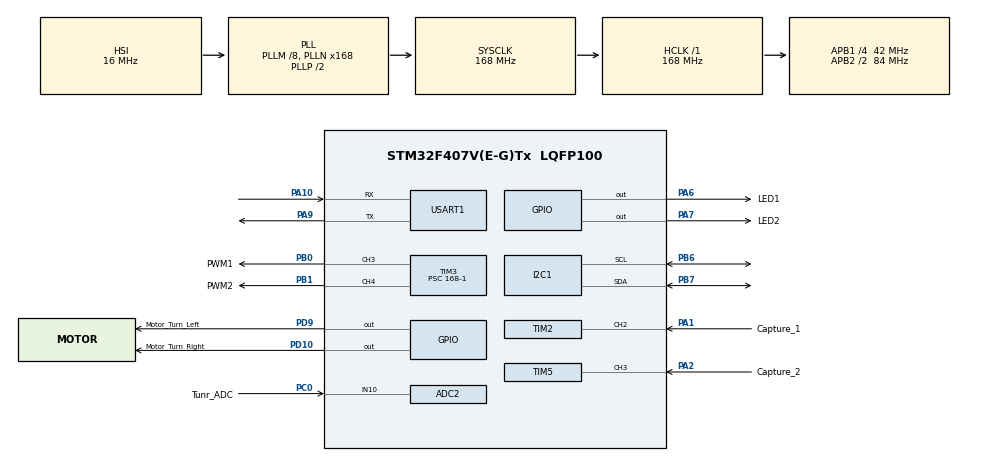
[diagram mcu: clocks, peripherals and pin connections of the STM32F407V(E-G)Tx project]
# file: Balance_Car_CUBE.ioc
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ADC1.Channel-0\#ChannelRegularConversion=ADC_CHANNEL_TEMPSENSOR
ADC1.ClockPrescaler=ADC_CLOCK_SYNC_PCLK_DIV4
ADC1.ContinuousConvMode=DISABLE
ADC1.DMAContinuousRequests=DISABLE
ADC1.DataAlign=ADC_DATAALIGN_RIGHT
ADC1.DiscontinuousConvMode=DISABLE
ADC1.EOCSelection=ADC_EOC_SINGLE_CONV
ADC1.EnableAnalogWatchDog=false
ADC1.ExternalTrigConv=ADC_SOFTWARE_START
ADC1.ExternalTrigConvEdge=ADC_EXTERNALTRIGCONVEDGE_NONE
ADC1.InjNumberOfConversion=0
ADC1.NbrOfConversion=1
ADC1.NbrOfConversionFlag=1
ADC1.Rank-0\#ChannelRegularConversion=1
ADC1.Resolution=ADC_RESOLUTION_12B
ADC1.SamplingTime-0\#ChannelRegularConversion=ADC_SAMPLETIME_3CYCLES
ADC1.ScanConvMode=DISABLE
ADC1.master=1
ADC2.Channel-0\#ChannelRegularConversion=ADC_CHANNEL_10
ADC2.NbrOfConversionFlag=1
ADC2.Rank-0\#ChannelRegularConversion=1
ADC2.SamplingTime-0\#ChannelRegularConversion=ADC_SAMPLETIME_3CYCLES
Dma.Request0=USART1_TX
Dma.USART1_TX.0.Direction=DMA_MEMORY_TO_PERIPH
Dma.USART1_TX.0.FIFOMode=DMA_FIFOMODE_DISABLE
Dma.USART1_TX.0.Instance=DMA2_Stream7
Dma.USART1_TX.0.MemDataAlignment=DMA_MDATAALIGN_BYTE
Dma.USART1_TX.0.MemInc=DMA_MINC_ENABLE
Dma.USART1_TX.0.Mode=DMA_NORMAL
Dma.USART1_TX.0.PeriphDataAlignment=DMA_PDATAALIGN_BYTE
Dma.USART1_TX.0.PeriphInc=DMA_PINC_DISABLE
Dma.USART1_TX.0.Priority=DMA_PRIORITY_LOW
Mcu.Family=STM32F4
Mcu.Name=STM32F407V(E-G)Tx
Mcu.Package=LQFP100
NVIC.DMA2_Stream7_IRQn=true\:0\:0\:false\:false\:true\:false
NVIC.PriorityGroup=NVIC_PRIORITYGROUP_2
NVIC.TIM1_BRK_TIM9_IRQn=true\:0\:0\:true\:false\:true\:true
NVIC.TIM2_IRQn=true\:0\:0\:true\:false\:true\:true
NVIC.TIM5_IRQn=true\:0\:0\:true\:false\:true\:true
NVIC.USART1_IRQn=true\:0\:0\:true\:false\:true\:true
PA1.GPIO_Label=Capture_1
PA1.GPIO_Speed=GPIO_SPEED_FREQ_MEDIUM
PA1.Signal=S_TIM2_CH2
PA10.Mode=Asynchronous
PA10.Signal=USART1_RX
PA2.GPIO_Label=Capture_2
PA2.GPIO_Speed=GPIO_SPEED_FREQ_MEDIUM
PA2.Signal=S_TIM5_CH3
PA6.GPIO_Label=LED1
PA6.GPIO_PuPd=GPIO_NOPULL
PA6.PinState=GPIO_PIN_SET
PA6.Signal=GPIO_Output
PA7.GPIO_Label=LED2
PA7.GPIO_PuPd=GPIO_NOPULL
PA7.PinState=GPIO_PIN_SET
PA7.Signal=GPIO_Output
PA9.Mode=Asynchronous
PA9.Signal=USART1_TX
PB0.GPIO_Label=PWM1
PB0.GPIO_PuPd=GPIO_PULLUP
PB0.GPIO_Speed=GPIO_SPEED_FREQ_MEDIUM
PB0.Signal=S_TIM3_CH3
PB1.GPIO_Label=PWM2
PB1.GPIO_PuPd=GPIO_PULLUP
PB1.GPIO_Speed=GPIO_SPEED_FREQ_MEDIUM
PB1.Signal=S_TIM3_CH4
PB6.Mode=I2C
PB6.Signal=I2C1_SCL
PB7.Mode=I2C
PB7.Signal=I2C1_SDA
PC0.GPIO_Label=Tunr_ADC
PC0.Signal=ADCx_IN10
PD10.GPIO_Label=Motor_Turn_Right
PD10.GPIO_PuPd=GPIO_PULLDOWN
PD10.GPIO_Speed=GPIO_SPEED_FREQ_MEDIUM
PD10.PinState=GPIO_PIN_SET
PD10.Signal=GPIO_Output
PD9.GPIO_Label=Motor_Turn_Left
PD9.GPIO_PuPd=GPIO_PULLDOWN
PD9.GPIO_Speed=GPIO_SPEED_FREQ_MEDIUM
PD9.PinState=GPIO_PIN_SET
PD9.Signal=GPIO_Output
PH0-OSC_IN.Mode=HSE-External-Oscillator
PH0-OSC_IN.Signal=RCC_OSC_IN
PH1-OSC_OUT.Mode=HSE-External-Oscillator
PH1-OSC_OUT.Signal=RCC_OSC_OUT
ProjectManager.HeapSize=0x200
ProjectManager.StackSize=0x400
ProjectManager.TargetToolchain=MDK-ARM V5
RCC.48MHZClocksFreq_Value=84000000
RCC.AHBFreq_Value=168000000
RCC.APB1CLKDivider=RCC_HCLK_DIV4
RCC.APB1Freq_Value=42000000
RCC.APB1TimFreq_Value=84000000
RCC.APB2CLKDivider=RCC_HCLK_DIV2
RCC.APB2Freq_Value=84000000
RCC.APB2TimFreq_Value=168000000
RCC.CortexFreq_Value=168000000
RCC.HCLKFreq_Value=168000000
RCC.HSE_VALUE=25000000
RCC.HSI_VALUE=16000000
RCC.LSE_VALUE=32768
RCC.PLLM=8
RCC.PLLN=168
RCC.SYSCLKFreq_VALUE=168000000
RCC.SYSCLKSource=RCC_SYSCLKSOURCE_PLLCLK
RCC.VCOOutputFreq_Value=336000000
SH.ADCx_IN10.0=ADC2_IN10,IN10
SH.S_TIM2_CH2.0=TIM2_CH2,Input_Capture2_from_TI2
SH.S_TIM3_CH3.0=TIM3_CH3,PWM Generation3 CH3
SH.S_TIM3_CH4.0=TIM3_CH4,PWM Generation4 CH4
SH.S_TIM5_CH3.0=TIM5_CH3,Input_Capture3_from_TI3
TIM2.Channel-Input_Capture2_from_TI2=TIM_CHANNEL_2
TIM2.Period=0xFFFFFFFF
TIM2.Prescaler=168-1
TIM3.Channel-PWM\ Generation3\ CH3=TIM_CHANNEL_3
TIM3.Channel-PWM\ Generation4\ CH4=TIM_CHANNEL_4
TIM3.Period=200-1
TIM3.Prescaler=168-1
TIM5.Channel-Input_Capture3_from_TI3=TIM_CHANNEL_3
TIM5.Period=0xFFFFFFFF
TIM5.Prescaler=168-1
TIM9.Period=500-1
TIM9.Prescaler=16800-1
USART1.VirtualMode=VM_ASYNC
VP_ADC1_TempSens_Input.Mode=IN-TempSens
VP_TIM2_VS_ClockSourceINT.Mode=Internal
VP_TIM3_VS_ClockSourceINT.Mode=Internal
VP_TIM5_VS_ClockSourceINT.Mode=Internal
VP_TIM9_VS_ClockSourceINT.Mode=Internal
board=Balance_Car_CUBE

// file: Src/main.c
/**
  ******************************************************************************
  * @file           : main.c
  * @brief          : Main program body
  ******************************************************************************
  ** This notice applies to any and all portions of this file
  * that are not between comment pairs USER CODE BEGIN and
  * USER CODE END. Other portions of this file, whether
  * inserted by the user or by software development tools
  * are owned by their respective copyright owners.
  *
  * COPYRIGHT(c) 2018 STMicroelectronics
  *
  * Redistribution and use in source and binary forms, with or without modification,
  * are permitted provided that the following conditions are met:
  *   1. Redistributions of source code must retain the above copyright notice,
  *      this list of conditions and the following disclaimer.
  *   2. Redistributions in binary form must reproduce the above copyright notice,
  *      this list of conditions and the following disclaimer in the documentation
  *      and/or other materials provided with the distribution.
  *   3. Neither the name of STMicroelectronics nor the names of its contributors
  *      may be used to endorse or promote products derived from this software
  *      without specific prior written permission.
  *
  * THIS SOFTWARE IS PROVIDED BY THE COPYRIGHT HOLDERS AND CONTRIBUTORS "AS IS"
  * AND ANY EXPRESS OR IMPLIED WARRANTIES, INCLUDING, BUT NOT LIMITED TO, THE
  * IMPLIED WARRANTIES OF MERCHANTABILITY AND FITNESS FOR A PARTICULAR PURPOSE ARE
  * DISCLAIMED. IN NO EVENT SHALL THE COPYRIGHT HOLDER OR CONTRIBUTORS BE LIABLE
  * FOR ANY DIRECT, INDIRECT, INCIDENTAL, SPECIAL, EXEMPLARY, OR CONSEQUENTIAL
  * DAMAGES (INCLUDING, BUT NOT LIMITED TO, PROCUREMENT OF SUBSTITUTE GOODS OR
  * SERVICES; LOSS OF USE, DATA, OR PROFITS; OR BUSINESS INTERRUPTION) HOWEVER
  * CAUSED AND ON ANY THEORY OF LIABILITY, WHETHER IN CONTRACT, STRICT LIABILITY,
  * OR TORT (INCLUDING NEGLIGENCE OR OTHERWISE) ARISING IN ANY WAY OUT OF THE USE
  * OF THIS SOFTWARE, EVEN IF ADVISED OF THE POSSIBILITY OF SUCH DAMAGE.
  *
  ******************************************************************************
  */
#include "main.h"
#include "stm32f4xx_hal.h"
#include "adc.h"
#include "dma.h"
#include "i2c.h"
#include "tim.h"
#include "usart.h"
#include "gpio.h"

/* USER CODE BEGIN Includes */
#include "control.h"
#include "jy901.h"
#include "motor.h"
/* USER CODE END Includes */

/* USER CODE BEGIN PV */
/* Private variables ---------------------------------------------------------*/

/* USER CODE END PV */

void SystemClock_Config(void);

/* USER CODE BEGIN PFP */
/* Private function prototypes -----------------------------------------------*/

/* USER CODE END PFP */

int main(void)
{

  /* MCU Configuration----------------------------------------------------------*/

  /* Reset of all peripherals, Initializes the Flash interface and the Systick. */
  HAL_Init();

  /* Configure the system clock */
  SystemClock_Config();

  /* Initialize all configured peripherals */
  MX_GPIO_Init();
  MX_DMA_Init();
  MX_ADC1_Init();
  MX_ADC2_Init();
  MX_USART1_UART_Init();
  MX_TIM9_Init();
  MX_TIM2_Init();
  MX_TIM5_Init();
  MX_TIM3_Init();
  MX_I2C1_Init();
  /* USER CODE BEGIN 2 */
	HAL_TIM_IC_Start_IT(&htim2, TIM_CHANNEL_2);			//启动定时器2CH2输入捕获
	HAL_TIM_IC_Start_IT(&htim5, TIM_CHANNEL_3);			//启动定时器5CH3输入捕获
	HAL_TIM_PWM_Start(&htim3, TIM_CHANNEL_3);				//PWM1初始状态
	HAL_TIM_PWM_Start(&htim3, TIM_CHANNEL_4);				//PWM2初始状态
	HAL_TIM_Base_Start_IT(&htim9);									//启动定时器9，50ms中断一次
  /* USER CODE END 2 */

  /* Infinite loop */
  while (1)
  {

  /* USER CODE BEGIN 3 */

		Motor_Turn_Left(1);														//左轮正转
		Motor_Turn_Right(1);													//右轮正转

		User_PWM1_SetValue(5);
		User_PWM2_SetValue(5);
		LED1_Open();
		HAL_Delay(1000);

		User_PWM1_SetValue(0);
		User_PWM2_SetValue(0);
		LED1_Close();
		HAL_Delay(1000);

		Motor_Turn_Left(0);														//左轮反转
		Motor_Turn_Right(0);													//右轮反转

		User_PWM1_SetValue(3);
		User_PWM2_SetValue(3);
		LED1_Open();
		HAL_Delay(1000);

		User_PWM1_SetValue(0);
		User_PWM2_SetValue(0);
		LED1_Close();
		HAL_Delay(1000);

  }
  /* USER CODE END 3 */

}

void SystemClock_Config(void)
{

  RCC_OscInitTypeDef RCC_OscInitStruct;
  RCC_ClkInitTypeDef RCC_ClkInitStruct;

    /**Configure the main internal regulator output voltage
    */
  __HAL_RCC_PWR_CLK_ENABLE();

  __HAL_PWR_VOLTAGESCALING_CONFIG(PWR_REGULATOR_VOLTAGE_SCALE1);

    /**Initializes the CPU, AHB and APB busses clocks
    */
  RCC_OscInitStruct.OscillatorType = RCC_OSCILLATORTYPE_HSI;
  RCC_OscInitStruct.HSIState = RCC_HSI_ON;
  RCC_OscInitStruct.HSICalibrationValue = 16;
  RCC_OscInitStruct.PLL.PLLState = RCC_PLL_ON;
  RCC_OscInitStruct.PLL.PLLSource = RCC_PLLSOURCE_HSI;
  RCC_OscInitStruct.PLL.PLLM = 8;
  RCC_OscInitStruct.PLL.PLLN = 168;
  RCC_OscInitStruct.PLL.PLLP = RCC_PLLP_DIV2;
  RCC_OscInitStruct.PLL.PLLQ = 4;
  if (HAL_RCC_OscConfig(&RCC_OscInitStruct) != HAL_OK)
  {
    _Error_Handler(__FILE__, __LINE__);
  }

    /**Initializes the CPU, AHB and APB busses clocks
    */
  RCC_ClkInitStruct.ClockType = RCC_CLOCKTYPE_HCLK|RCC_CLOCKTYPE_SYSCLK
                              |RCC_CLOCKTYPE_PCLK1|RCC_CLOCKTYPE_PCLK2;
  RCC_ClkInitStruct.SYSCLKSource = RCC_SYSCLKSOURCE_PLLCLK;
  RCC_ClkInitStruct.AHBCLKDivider = RCC_SYSCLK_DIV1;
  RCC_ClkInitStruct.APB1CLKDivider = RCC_HCLK_DIV4;
  RCC_ClkInitStruct.APB2CLKDivider = RCC_HCLK_DIV2;

  if (HAL_RCC_ClockConfig(&RCC_ClkInitStruct, FLASH_LATENCY_5) != HAL_OK)
  {
    _Error_Handler(__FILE__, __LINE__);
  }

    /**Configure the Systick interrupt time
    */
  HAL_SYSTICK_Config(HAL_RCC_GetHCLKFreq()/1000);

    /**Configure the Systick
    */
  HAL_SYSTICK_CLKSourceConfig(SYSTICK_CLKSOURCE_HCLK);

  /* SysTick_IRQn interrupt configuration */
  HAL_NVIC_SetPriority(SysTick_IRQn, 0, 0);
}

void _Error_Handler(char *file, int line)
{
  while(1)
  {
  }
}

/************************ (C) COPYRIGHT STMicroelectronics *****END OF FILE****/
